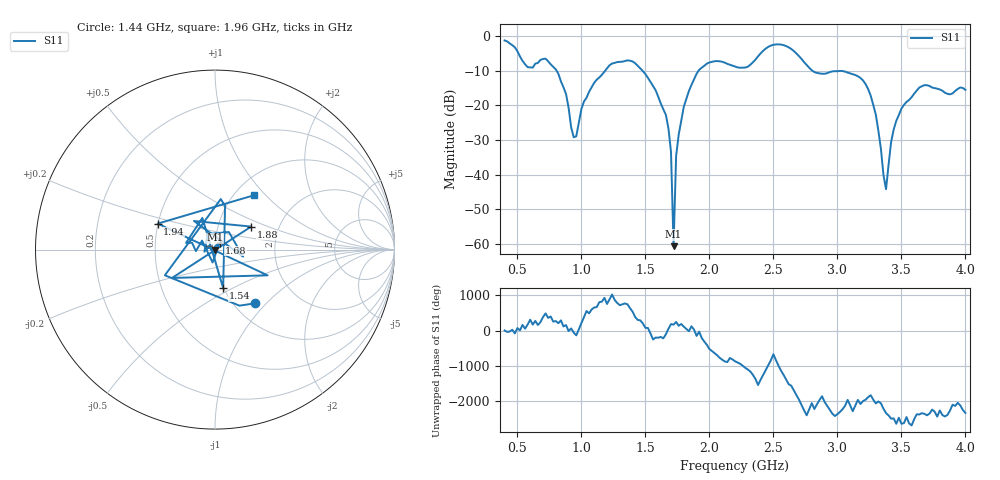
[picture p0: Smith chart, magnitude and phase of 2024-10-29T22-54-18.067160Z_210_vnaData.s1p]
!Created with skrf (http://scikit-rf.org).
# Hz S RI R 50.0
!freq ReS11 ImS11
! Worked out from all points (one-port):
!   181 points, 400 MHz to 4 GHz, reference 50 ohm
!   lowest |S11| = -60.7 dB at 1.72 GHz (marker M1), VSWR 1.00, Z = 49.9 + j0.0123 ohm
!   |S11| at or under -10 dB: 806.3 MHz to 1.185 GHz (379 MHz wide, 38.1 % of centre); 1.478 GHz to 1.915 GHz (437 MHz wide, 25.8 % of centre); 2.806 GHz to end of sweep
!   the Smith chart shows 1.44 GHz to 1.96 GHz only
!   S11 on the Smith chart (normalised r, x): 1.44 GHz: 1.24, -0.86; 1.54 GHz: 1.00, -0.45; 1.68 GHz: 1.05, +0.08; 1.88 GHz: 1.44, +0.39; 1.94 GHz: 0.50, +0.16; 1.96 GHz: 1.22, +0.86
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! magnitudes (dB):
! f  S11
! 400 MHz  -1.2
! 580 MHz  -8.9
! 720 MHz  -6.5
! 860 MHz  -14.8
! 960 MHz  -28.9
! 1.1 GHz  -13.5
! 1.3 GHz  -7.4
! 1.44 GHz  -8.6
! 1.54 GHz  -13.2
! 1.68 GHz  -26.7
! 1.7 GHz  -33.4
! 1.72 GHz  -60.7
! 1.74 GHz  -34.6
! 1.76 GHz  -28.5
! 1.88 GHz  -12.4
! 1.94 GHz  -9.1
! 1.96 GHz  -8.6
! 2.2 GHz  -8.8
! 2.66 GHz  -4.3
! 2.82 GHz  -10.4
! 3.1 GHz  -10.7
! 3.26 GHz  -17.2
! 3.3 GHz  -22.7
! 3.38 GHz  -44.2
! 3.44 GHz  -27.0
! 3.56 GHz  -18.4
! 3.68 GHz  -14.1
! 4 GHz  -15.5
